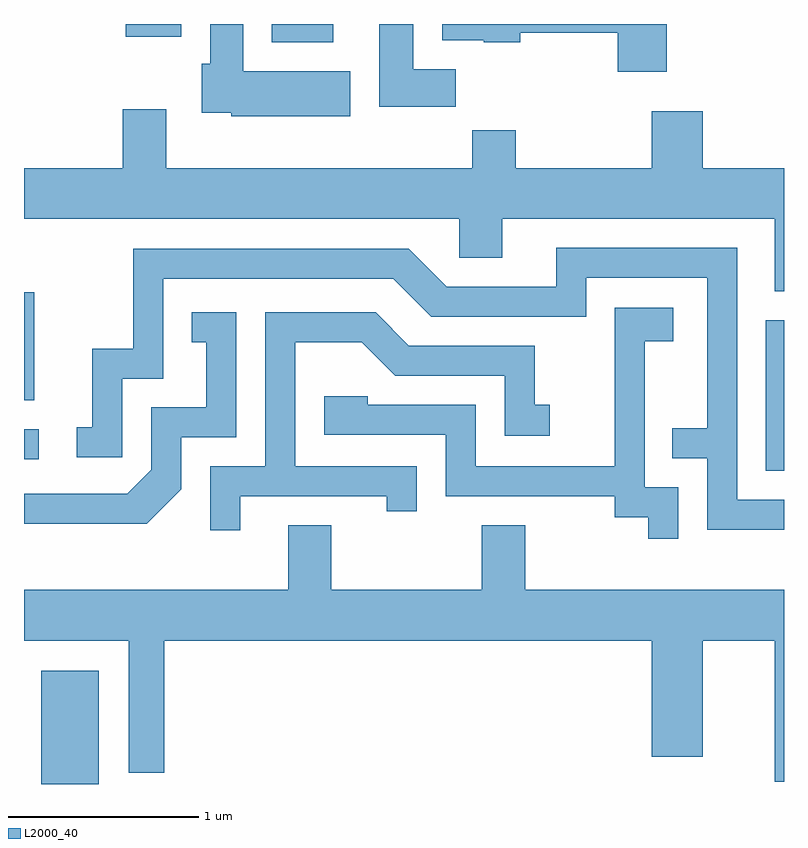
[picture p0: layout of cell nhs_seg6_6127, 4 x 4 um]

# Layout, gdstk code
import gdstk
lib = gdstk.Library(unit=1e-6, precision=1e-09)
def R(c, l, rs):  # rectangles x0, y0, x1, y1
    for r in rs: c.add(gdstk.rectangle(r[:2], r[2:], *l))
def P(c, l, *ps):  # polygons
    for p in ps: c.add(gdstk.Polygon(p, *l))
L2000_40 = (2000, 40)

nhs_seg6_6127 = lib.new_cell('nhs_seg6_6127')
R(nhs_seg6_6127, L2000_40, [(371.701,1558.162,372.004,1558.759), (375.516,1559.811,375.611,1560.604), (371.611,1559.871,371.688,1560.029), (371.611,1560.181,371.664,1560.749), (372.916,1562.066,373.239,1562.162), (372.146,1562.096,372.439,1562.162)])
P(nhs_seg6_6127, L2000_40, [(374.994,1562.162),(373.811,1562.162),(373.811,1562.076),(374.03,1562.076),(374.03,1562.066),(374.224,1562.066),(374.224,1562.116),(374.736,1562.116),(374.736,1561.911),(374.994,1561.911)],
  [(373.329,1561.914),(372.764,1561.914),(372.764,1562.162),(372.591,1562.162),(372.591,1561.954),(372.546,1561.954),(372.546,1561.696),(372.701,1561.696),(372.701,1561.676),(373.329,1561.676)],
  [(373.884,1561.924),(373.659,1561.924),(373.659,1562.162),(373.481,1562.162),(373.481,1561.726),(373.884,1561.726)],
  [(375.611,1561.404),(375.184,1561.404),(375.184,1561.704),(374.916,1561.704),(374.916,1561.404),(374.199,1561.404),(374.199,1561.604),(373.971,1561.604),(373.971,1561.404),(372.359,1561.404),(372.359,1561.714),(372.131,1561.714),(372.131,1561.404),(371.611,1561.404),(371.611,1561.136),(373.901,1561.136),(373.901,1560.931),(374.129,1560.931),(374.129,1561.136),(375.561,1561.136),(375.561,1560.756),(375.611,1560.756)],
  [(375.611,1559.659),(375.364,1559.659),(375.364,1560.984),(374.411,1560.984),(374.411,1560.779),(373.837,1560.779),(373.637,1560.979),(372.186,1560.979),(372.186,1560.454),(371.971,1560.454),(371.971,1560.039),(371.888,1560.039),(371.888,1559.881),(372.129,1559.881),(372.129,1560.296),(372.344,1560.296),(372.344,1560.821),(373.554,1560.821),(373.754,1560.621),(374.569,1560.621),(374.569,1560.826),(375.206,1560.826),(375.206,1560.034),(375.023,1560.034),(375.023,1559.876),(375.206,1559.876),(375.206,1559.501),(375.611,1559.501)],
  [(375.054,1559.724),(374.879,1559.724),(374.879,1560.491),(375.029,1560.491),(375.029,1560.669),(374.721,1560.669),(374.721,1559.834),(373.989,1559.834),(373.989,1560.159),(373.419,1560.159),(373.419,1560.204),(373.191,1560.204),(373.191,1560.001),(373.831,1560.001),(373.831,1559.676),(374.721,1559.676),(374.721,1559.566),(374.896,1559.566),(374.896,1559.453),(375.054,1559.453)],
  [(372.439,1559.714),(372.439,1559.986),(372.729,1559.986),(372.729,1560.644),(372.493,1560.644),(372.493,1560.486),(372.571,1560.486),(372.571,1560.144),(372.281,1560.144),(372.281,1559.817),(372.154,1559.689),(371.611,1559.689),(371.611,1559.531),(372.257,1559.531)],
  [(372.749,1559.676),(373.521,1559.676),(373.521,1559.598),(373.679,1559.598),(373.679,1559.834),(373.039,1559.834),(373.039,1560.486),(373.389,1560.486),(373.564,1560.311),(374.141,1560.311),(374.141,1559.996),(374.378,1559.996),(374.378,1560.159),(374.299,1560.159),(374.299,1560.469),(373.637,1560.469),(373.462,1560.644),(372.881,1560.644),(372.881,1559.834),(372.591,1559.834),(372.591,1559.498),(372.749,1559.498)],
  [(375.611,1559.184),(374.249,1559.184),(374.249,1559.524),(374.021,1559.524),(374.021,1559.184),(373.229,1559.184),(373.229,1559.524),(373.001,1559.524),(373.001,1559.184),(371.611,1559.184),(371.611,1558.916),(372.161,1558.916),(372.161,1558.221),(372.349,1558.221),(372.349,1558.916),(374.916,1558.916),(374.916,1558.306),(375.184,1558.306),(375.184,1558.916),(375.561,1558.916),(375.561,1558.173),(375.611,1558.173)])

lib.write_gds('nhs_seg6_6127.gds')
